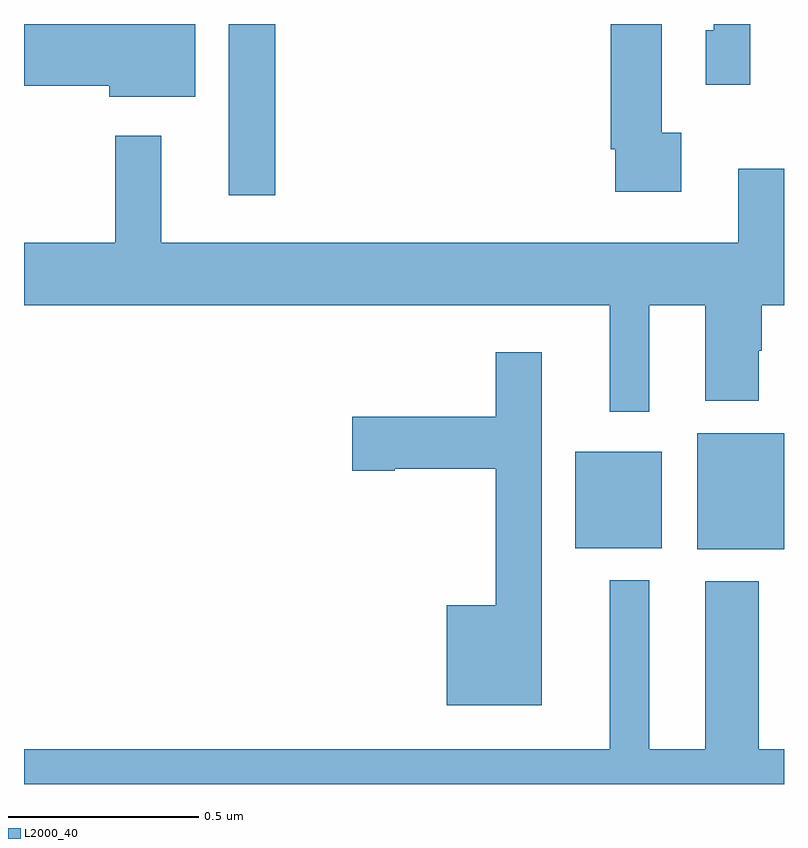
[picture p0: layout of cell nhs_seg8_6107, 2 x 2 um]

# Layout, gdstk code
import gdstk
lib = gdstk.Library(unit=1e-6, precision=1e-09)
def R(c, l, rs):  # rectangles x0, y0, x1, y1
    for r in rs: c.add(gdstk.rectangle(r[:2], r[2:], *l))
def P(c, l, *ps):  # polygons
    for p in ps: c.add(gdstk.Polygon(p, *l))
L2000_40 = (2000, 40)

nhs_seg8_6107 = lib.new_cell('nhs_seg8_6107')
R(nhs_seg8_6107, L2000_40, [(193.772,1122.518,194,1122.823), (193.451,1122.521,193.678,1122.775), (192.539,1123.449,192.661,1123.9)])
P(nhs_seg8_6107, L2000_40, [(192.451,1123.9),(192,1123.9),(192,1123.738),(192.224,1123.738),(192.224,1123.709),(192.451,1123.709)],
  [(193.911,1123.9),(193.815,1123.9),(193.815,1123.884),(193.794,1123.884),(193.794,1123.74),(193.911,1123.74)],
  [(193.729,1123.614),(193.678,1123.614),(193.678,1123.9),(193.544,1123.9),(193.544,1123.57),(193.556,1123.57),(193.556,1123.458),(193.729,1123.458)],
  [(193.645,1123.16),(193.793,1123.16),(193.793,1122.908),(193.933,1122.908),(193.933,1123.04),(193.941,1123.04),(193.941,1123.16),(194,1123.16),(194,1123.519),(193.88,1123.519),(193.88,1123.324),(192.361,1123.324),(192.361,1123.606),(192.24,1123.606),(192.24,1123.324),(192,1123.324),(192,1123.16),(193.541,1123.16),(193.541,1122.879),(193.645,1122.879)],
  [(193.363,1123.036),(193.242,1123.036),(193.242,1122.867),(192.864,1122.867),(192.864,1122.725),(192.976,1122.725),(192.976,1122.73),(193.242,1122.73),(193.242,1122.37),(193.112,1122.37),(193.112,1122.107),(193.363,1122.107)],
  [(194,1121.992),(193.933,1121.992),(193.933,1122.433),(193.793,1122.433),(193.793,1121.992),(193.645,1121.992),(193.645,1122.436),(193.541,1122.436),(193.541,1121.992),(192,1121.992),(192,1121.9),(194,1121.9)])

lib.write_gds('nhs_seg8_6107.gds')
